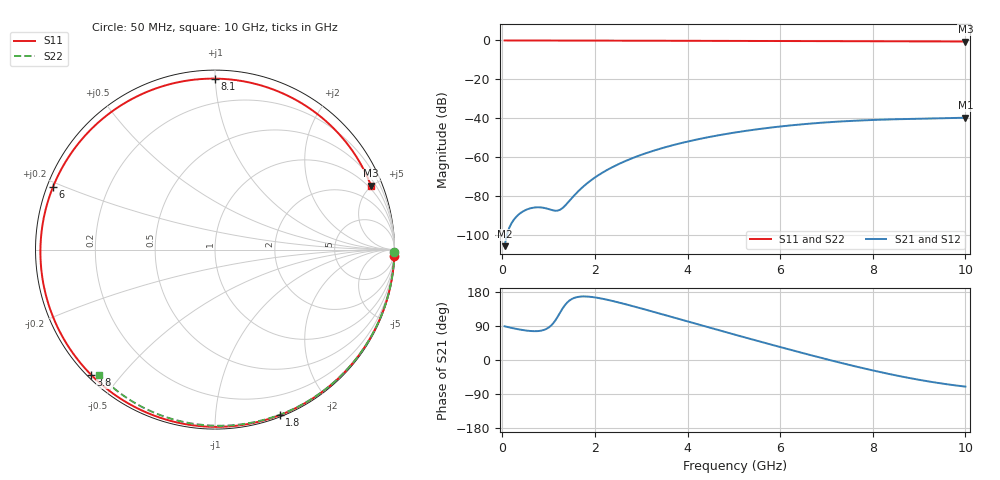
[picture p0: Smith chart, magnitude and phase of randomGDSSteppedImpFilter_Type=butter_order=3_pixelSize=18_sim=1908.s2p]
! freq	dB(S11)	phase(S11)	dB(S12)	phase(S12)
!  dB(S21)	phase(S21)	dB(S22)	phase(S22)
!S-par simulation data
#  GHz  S  DB  R 50
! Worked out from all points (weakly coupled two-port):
!   200 points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, 50 MHz to 10 GHz, reference 50 ohm
!   highest |S21| = -39.79 dB at 10 GHz (marker M1); lowest = -105.9 dB at 50 MHz (marker M2)
!   lowest |S11| = -0.5 dB at 10 GHz (marker M3), VSWR 31.95, Z = 41 + j248 ohm
!   |S11| at or under -10 dB: nowhere
!   |S22| runs from -0.4 to 0.0 dB; largest |S21 - S12| = 0
!   S11 on the Smith chart (normalised r, x): 50 MHz: 0, -57; 1.8 GHz: 0.02, -1.46; 3.8 GHz: 0.01, -0.42; 6 GHz: 0.02, +0.19; 8.1 GHz: 0.05, +1.00; 10 GHz: 0.82, +4.95
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0.05  -0.00 -2.0  -105.93 89.0  -105.93 89.0  -0.00 -0.8
0.75  -0.04 -29.4  -85.92 76.2  -85.92 76.2  -0.01 -11.5
1.15  -0.06 -44.7  -87.68 105.2  -87.68 105.2  -0.02 -17.5
1.55  -0.07 -59.6  -79.89 163.6  -79.89 163.6  -0.03 -23.5
1.75  -0.08 -66.9  -75.21 167.8  -75.21 167.8  -0.03 -26.5
1.8  -0.08 -68.7  -74.18 167.7  -74.18 167.7  -0.03 -27.3
2.1  -0.10 -79.3  -69.00 163.1  -69.00 163.1  -0.04 -31.7
2.45  -0.11 -91.3  -64.37 153.7  -64.37 153.7  -0.05 -36.8
2.9  -0.13 -106.3  -59.78 139.4  -59.78 139.4  -0.06 -43.3
3.4  -0.15 -122.3  -55.80 122.5  -55.80 122.5  -0.07 -50.5
3.8  -0.16 -134.7  -53.22 108.7  -53.22 108.7  -0.08 -56.1
4.45  -0.20 -154.4  -49.80 86.4  -49.80 86.4  -0.09 -65.0
5.05  -0.23 -172.4  -47.30 65.9  -47.30 65.9  -0.11 -73.0
5.55  -0.26 172.6  -45.60 49.1  -45.60 49.1  -0.13 -79.5
6  -0.28 158.8  -44.31 34.2  -44.31 34.2  -0.15 -85.3
6.7  -0.33 136.9  -42.72 11.5  -42.72 11.5  -0.18 -94.0
7.45  -0.38 112.3  -41.53 -11.7  -41.53 -11.7  -0.23 -103.1
8.1  -0.42 89.9  -40.86 -30.2  -40.86 -30.2  -0.27 -110.9
8.35  -0.44 81.1  -40.67 -36.8  -40.67 -36.8  -0.29 -113.8
9.1  -0.48 54.3  -40.26 -54.4  -40.26 -54.4  -0.36 -122.5
9.55  -0.51 38.2  -40.04 -63.1  -40.04 -63.1  -0.40 -127.6
10  -0.54 22.3  -39.79 -70.2  -39.79 -70.2  -0.45 -132.7
